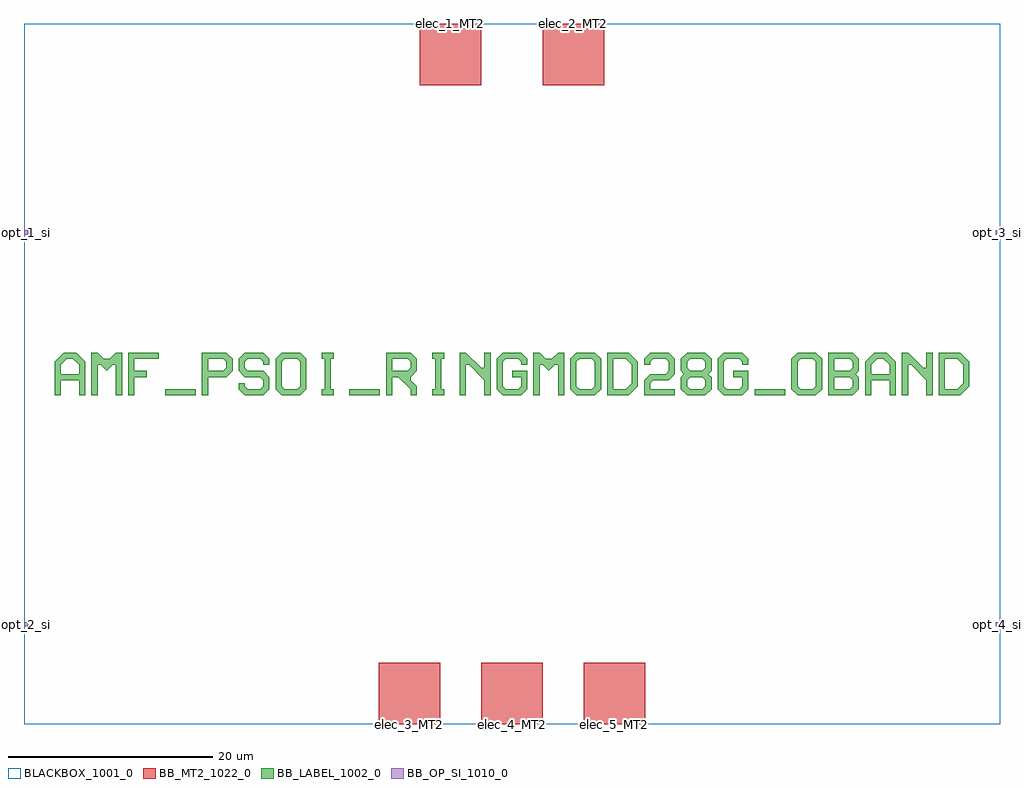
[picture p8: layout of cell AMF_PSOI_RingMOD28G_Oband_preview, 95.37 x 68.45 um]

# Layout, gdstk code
import gdstk
lib = gdstk.Library(unit=1e-6, precision=1e-09)
def R(c, l, rs):  # rectangles x0, y0, x1, y1
    for r in rs: c.add(gdstk.rectangle(r[:2], r[2:], *l))
def A(c, l, x, y, w, h, nx, ny, dx, dy):  # array of equal rectangles
    R(c, l, [(x+i*dx, y+j*dy, x+i*dx+w, y+j*dy+h) for i in range(nx) for j in range(ny)])
def P(c, l, *ps):  # polygons
    for p in ps: c.add(gdstk.Polygon(p, *l))
BLACKBOX_1001_0 = (1001, 0)
BB_LABEL_1002_0 = (1002, 0)
BB_OP_SI_1010_0 = (1010, 0)
BB_MT2_1022_0 = (1022, 0)

amf_psoi_ringmod28g_oban = lib.new_cell('AMF_PSOI_RingMOD28G_Oband_preview')
R(amf_psoi_ringmod28g_oban, BLACKBOX_1001_0, [(0,-28.912,95.371,39.54)])
P(amf_psoi_ringmod28g_oban, BLACKBOX_1001_0, [(35.659,-28.775),(35.659,-28.775),(35.659,-28.775),(35.659,-28.775)])
R(amf_psoi_ringmod28g_oban, BB_LABEL_1002_0, [(13.786,3.214,16.786,3.814), (31.786,3.214,34.786,3.814), (71.386,3.214,74.386,3.814)])
P(amf_psoi_ringmod28g_oban, BB_LABEL_1002_0, [(2.986,3.214),(2.986,6.514),(3.886,7.414),(5.086,7.414),(5.686,6.814),(4.186,6.814),(3.586,6.214),(3.586,5.314),(5.386,5.314),(5.386,6.214),(4.786,6.814),(5.686,6.814),(5.986,6.514),(5.986,3.214),(5.386,3.214),(5.386,4.714),(3.586,4.714),(3.586,3.214)],
  [(6.586,3.214),(6.586,7.414),(7.186,7.414),(7.786,6.814),(8.386,6.814),(8.986,7.414),(9.586,7.414),(9.586,3.214),(8.986,3.214),(8.986,6.214),(8.686,6.214),(8.086,5.614),(7.486,6.214),(7.186,6.214),(7.186,3.214)],
  [(10.186,3.214),(10.186,7.414),(13.186,7.414),(13.186,6.814),(10.786,6.814),(10.786,5.614),(11.986,5.614),(11.986,5.014),(10.786,5.014),(10.786,3.214)],
  [(17.386,3.214),(17.386,7.414),(19.786,7.414),(20.386,6.814),(20.386,5.614),(19.786,5.014),(17.986,5.014),(17.986,5.614),(19.486,5.614),(19.786,5.914),(19.786,6.514),(19.486,6.814),(17.986,6.814),(17.986,3.214)],
  [(21.586,3.214),(20.986,3.814),(20.986,4.414),(21.586,4.414),(21.586,4.114),(21.886,3.814),(23.086,3.814),(23.386,4.114),(23.386,4.714),(23.086,5.014),(21.586,5.014),(20.986,5.614),(20.986,6.814),(21.586,7.414),(23.386,7.414),(23.986,6.814),(23.986,6.214),(23.386,6.214),(23.386,6.514),(23.086,6.814),(21.886,6.814),(21.586,6.514),(21.586,5.914),(21.886,5.614),(23.386,5.614),(23.986,5.014),(23.986,3.814),(23.386,3.214)],
  [(25.186,3.214),(24.586,3.814),(24.586,6.814),(25.186,7.414),(26.986,7.414),(27.586,6.814),(27.586,5.314),(26.986,5.314),(26.986,6.514),(26.686,6.814),(25.486,6.814),(25.186,6.514),(25.186,4.114),(25.486,3.814),(26.686,3.814),(26.986,4.114),(26.986,5.314),(27.586,5.314),(27.586,3.814),(26.986,3.214)],
  [(29.086,3.214),(29.086,3.814),(29.386,3.814),(29.386,6.814),(29.086,6.814),(29.086,7.414),(30.286,7.414),(30.286,6.814),(29.986,6.814),(29.986,3.814),(30.286,3.814),(30.286,3.214)],
  [(35.386,3.214),(35.386,7.414),(37.786,7.414),(38.386,6.814),(35.986,6.814),(35.986,5.614),(37.486,5.614),(37.786,5.914),(37.786,6.514),(37.486,6.814),(38.386,6.814),(38.386,5.614),(37.786,5.014),(37.786,4.714),(38.386,4.114),(38.386,3.214),(37.786,3.214),(37.786,3.814),(36.586,5.014),(35.986,5.014),(35.986,3.214)],
  [(39.886,3.214),(39.886,3.814),(40.186,3.814),(40.186,6.814),(39.886,6.814),(39.886,7.414),(41.086,7.414),(41.086,6.814),(40.786,6.814),(40.786,3.814),(41.086,3.814),(41.086,3.214)],
  [(42.586,3.214),(42.586,7.414),(43.186,7.414),(44.686,5.914),(44.986,5.914),(44.986,7.414),(45.586,7.414),(45.586,3.214),(44.986,3.214),(44.986,4.714),(43.486,6.214),(43.186,6.214),(43.186,3.214)],
  [(46.786,3.214),(46.186,3.814),(46.186,6.814),(46.786,7.414),(48.586,7.414),(49.186,6.814),(49.186,6.214),(48.586,6.214),(48.586,6.514),(48.286,6.814),(47.086,6.814),(46.786,6.514),(46.786,4.114),(47.086,3.814),(48.286,3.814),(48.586,4.114),(48.586,5.014),(47.686,5.014),(47.686,5.614),(49.186,5.614),(49.186,3.814),(48.586,3.214)],
  [(49.786,3.214),(49.786,7.414),(50.386,7.414),(50.986,6.814),(51.586,6.814),(52.186,7.414),(52.786,7.414),(52.786,3.214),(52.186,3.214),(52.186,6.214),(51.886,6.214),(51.286,5.614),(50.686,6.214),(50.386,6.214),(50.386,3.214)],
  [(53.986,3.214),(53.386,3.814),(53.386,6.814),(53.986,7.414),(55.786,7.414),(56.386,6.814),(56.386,5.314),(55.786,5.314),(55.786,6.514),(55.486,6.814),(54.286,6.814),(53.986,6.514),(53.986,4.114),(54.286,3.814),(55.486,3.814),(55.786,4.114),(55.786,5.314),(56.386,5.314),(56.386,3.814),(55.786,3.214)],
  [(56.986,3.214),(56.986,7.414),(59.086,7.414),(59.686,6.814),(57.586,6.814),(57.586,3.814),(58.786,3.814),(59.386,4.414),(59.386,6.214),(58.786,6.814),(59.686,6.814),(59.986,6.514),(59.986,4.114),(59.086,3.214)],
  [(60.586,3.214),(60.586,4.714),(61.186,5.314),(62.686,5.314),(62.986,5.614),(62.986,6.514),(62.686,6.814),(61.486,6.814),(61.186,6.514),(61.186,6.214),(60.586,6.214),(60.586,6.814),(61.186,7.414),(62.986,7.414),(63.586,6.814),(63.586,5.314),(62.986,4.714),(61.486,4.714),(61.186,4.414),(61.186,3.814),(63.586,3.814),(63.586,3.214)],
  [(64.786,3.214),(64.186,3.814),(64.186,5.014),(64.486,5.314),(64.186,5.614),(64.186,6.814),(64.786,7.414),(66.586,7.414),(67.186,6.814),(65.086,6.814),(64.786,6.514),(64.786,5.914),(65.086,5.614),(66.286,5.614),(66.586,5.914),(66.586,6.514),(66.286,6.814),(67.186,6.814),(67.186,5.614),(66.886,5.314),(67.186,5.014),(65.086,5.014),(64.786,4.714),(64.786,4.114),(65.086,3.814),(66.286,3.814),(66.586,4.114),(66.586,4.714),(66.286,5.014),(67.186,5.014),(67.186,3.814),(66.586,3.214)],
  [(68.386,3.214),(67.786,3.814),(67.786,6.814),(68.386,7.414),(70.186,7.414),(70.786,6.814),(70.786,6.214),(70.186,6.214),(70.186,6.514),(69.886,6.814),(68.686,6.814),(68.386,6.514),(68.386,4.114),(68.686,3.814),(69.886,3.814),(70.186,4.114),(70.186,5.014),(69.286,5.014),(69.286,5.614),(70.786,5.614),(70.786,3.814),(70.186,3.214)],
  [(75.586,3.214),(74.986,3.814),(74.986,6.814),(75.586,7.414),(77.386,7.414),(77.986,6.814),(77.986,5.314),(77.386,5.314),(77.386,6.514),(77.086,6.814),(75.886,6.814),(75.586,6.514),(75.586,4.114),(75.886,3.814),(77.086,3.814),(77.386,4.114),(77.386,5.314),(77.986,5.314),(77.986,3.814),(77.386,3.214)],
  [(78.586,3.214),(78.586,7.414),(80.986,7.414),(81.586,6.814),(79.186,6.814),(79.186,5.614),(80.686,5.614),(80.986,5.914),(80.986,6.514),(80.686,6.814),(81.586,6.814),(81.586,5.614),(81.286,5.314),(81.586,5.014),(79.186,5.014),(79.186,3.814),(80.686,3.814),(80.986,4.114),(80.986,4.714),(80.686,5.014),(81.586,5.014),(81.586,3.814),(80.986,3.214)],
  [(82.186,3.214),(82.186,6.514),(83.086,7.414),(84.286,7.414),(84.886,6.814),(83.386,6.814),(82.786,6.214),(82.786,5.314),(84.586,5.314),(84.586,6.214),(83.986,6.814),(84.886,6.814),(85.186,6.514),(85.186,3.214),(84.586,3.214),(84.586,4.714),(82.786,4.714),(82.786,3.214)],
  [(85.786,3.214),(85.786,7.414),(86.386,7.414),(87.886,5.914),(88.186,5.914),(88.186,7.414),(88.786,7.414),(88.786,3.214),(88.186,3.214),(88.186,4.714),(86.686,6.214),(86.386,6.214),(86.386,3.214)],
  [(89.386,3.214),(89.386,7.414),(91.486,7.414),(92.086,6.814),(89.986,6.814),(89.986,3.814),(91.186,3.814),(91.786,4.414),(91.786,6.214),(91.186,6.814),(92.086,6.814),(92.386,6.514),(92.386,4.114),(91.486,3.214)])
R(amf_psoi_ringmod28g_oban, BB_OP_SI_1010_0, [(0,-19.345,0.41,-18.935), (94.961,-19.345,95.371,-18.935), (0,18.935,0.41,19.345), (94.961,18.935,95.371,19.345)])
A(amf_psoi_ringmod28g_oban, BB_MT2_1022_0, 34.686, -28.912, 6, 6, 3, 1, 10, 0)
R(amf_psoi_ringmod28g_oban, BB_MT2_1022_0, [(38.686,33.54,44.686,39.54), (50.686,33.54,56.686,39.54)])
amf_psoi_ringmod28g_oban.add(gdstk.Label('opt_1_si', (0,19.14), layer=1010, texttype=0))
amf_psoi_ringmod28g_oban.add(gdstk.Label('opt_2_si', (0,-19.14), layer=1010, texttype=0))
amf_psoi_ringmod28g_oban.add(gdstk.Label('opt_3_si', (95.371,19.14), layer=1010, texttype=0))
amf_psoi_ringmod28g_oban.add(gdstk.Label('opt_4_si', (95.371,-19.14), layer=1010, texttype=0))
amf_psoi_ringmod28g_oban.add(gdstk.Label('elec_1_MT2', (41.686,39.54), layer=1022, texttype=0))
amf_psoi_ringmod28g_oban.add(gdstk.Label('elec_2_MT2', (53.686,39.54), layer=1022, texttype=0))
amf_psoi_ringmod28g_oban.add(gdstk.Label('elec_3_MT2', (37.686,-28.912), layer=1022, texttype=0))
amf_psoi_ringmod28g_oban.add(gdstk.Label('elec_4_MT2', (47.686,-28.912), layer=1022, texttype=0))
amf_psoi_ringmod28g_oban.add(gdstk.Label('elec_5_MT2', (57.686,-28.912), layer=1022, texttype=0))

lib.write_gds('AMF_PSOI_RingMOD28G_Oband_preview.gds')
